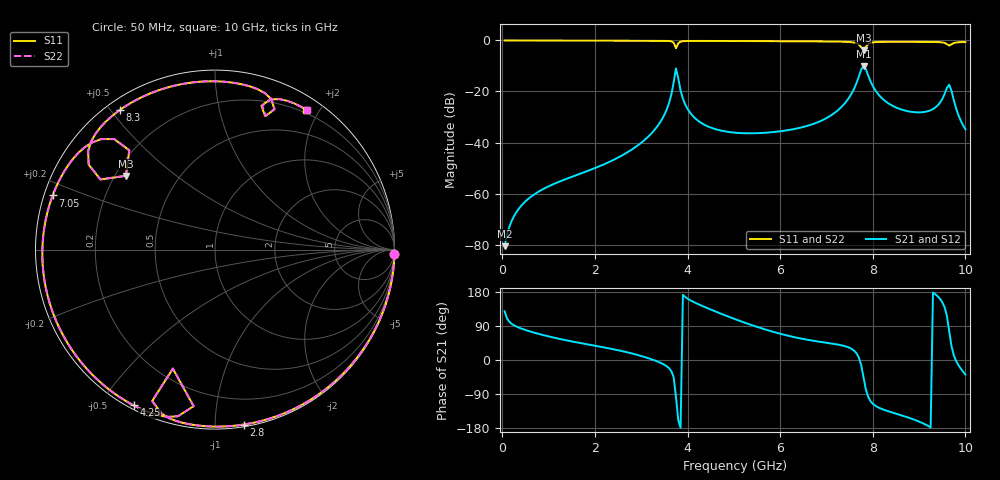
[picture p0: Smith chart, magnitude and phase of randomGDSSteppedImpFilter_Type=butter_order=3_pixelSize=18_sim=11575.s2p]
! freq	dB(S11)	phase(S11)	dB(S12)	phase(S12)
!  dB(S21)	phase(S21)	dB(S22)	phase(S22)
!S-par simulation data
#  GHz  S  DB  R 50
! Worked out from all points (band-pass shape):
!   200 points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, 50 MHz to 10 GHz, reference 50 ohm
!   highest |S21| = -9.96 dB at 7.8 GHz (marker M1); lowest = -80.6 dB at 50 MHz (marker M2)
!   |S21| within 3 dB of the highest: 3.732 GHz to 3.776 GHz (43.75 MHz wide, 1.17 % of centre); 7.721 GHz to 7.885 GHz (163.9 MHz wide, 2.1 % of centre)
!   lowest |S11| = -3.8 dB at 7.8 GHz (marker M3), VSWR 4.62, Z = 12.1 + j17.1 ohm
!   |S11| at or under -10 dB: nowhere
!   |S22| runs from -3.8 to 0.0 dB; largest |S21 - S12| = 0
!   S11 on the Smith chart (normalised r, x): 50 MHz: 0, -77; 2.8 GHz: 0.01, -1.18; 4.25 GHz: 0.01, -0.61; 7.05 GHz: 0.02, +0.16; 8.3 GHz: 0.04, +0.53; 10 GHz: 0.16, +1.84
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0.05  -0.00 -1.5  -80.61 128.6  -80.61 128.6  -0.00 -1.5
0.2  -0.00 -6.0  -70.79 95.7  -70.79 95.7  -0.00 -6.0
0.5  -0.01 -14.8  -63.05 79.1  -63.05 79.1  -0.01 -14.8
1.75  -0.06 -51.1  -51.76 43.3  -51.76 43.3  -0.06 -51.1
2.8  -0.10 -80.6  -42.72 17.2  -42.72 17.2  -0.10 -80.6
3.4  -0.14 -97.8  -32.28 -6.5  -32.28 -6.5  -0.14 -97.8
3.6  -0.23 -105.2  -24.56 -21.6  -24.56 -21.6  -0.23 -105.2
3.75  -3.05 -109.5  -10.97 -96.5  -10.97 -96.5  -3.06 -109.5
3.8  -1.10 -97.8  -14.85 -159.1  -14.85 -159.1  -1.11 -97.8
3.95  -0.23 -107.9  -25.08 166.3  -25.08 166.3  -0.23 -107.8
4.25  -0.18 -117.6  -31.76 146.3  -31.76 146.3  -0.18 -117.6
5.05  -0.22 -139.7  -36.18 106.7  -36.18 106.7  -0.22 -139.7
6.7  -0.36 172.9  -32.81 51.0  -32.81 51.0  -0.36 172.9
7.05  -0.42 161.5  -29.91 44.6  -29.91 44.6  -0.42 161.5
7.65  -1.07 135.9  -16.64 17.5  -16.64 17.5  -1.07 135.8
7.8  -3.82 140.4  -9.96 -45.5  -9.96 -45.5  -3.81 140.3
7.9  -1.43 146.1  -13.67 -97.1  -13.67 -97.1  -1.43 146.0
8.3  -0.53 124.2  -24.19 -133.9  -24.19 -133.9  -0.53 124.1
8.35  -0.52 122.1  -24.79 -135.9  -24.79 -135.9  -0.52 122.0
9.2  -0.57 86.9  -27.66 -174.3  -27.66 -174.3  -0.57 86.8
9.65  -2.01 69.4  -17.35 77.1  -17.35 77.1  -1.97 69.2
10  -0.62 56.9  -34.77 -38.1  -34.77 -38.1  -0.62 56.7
